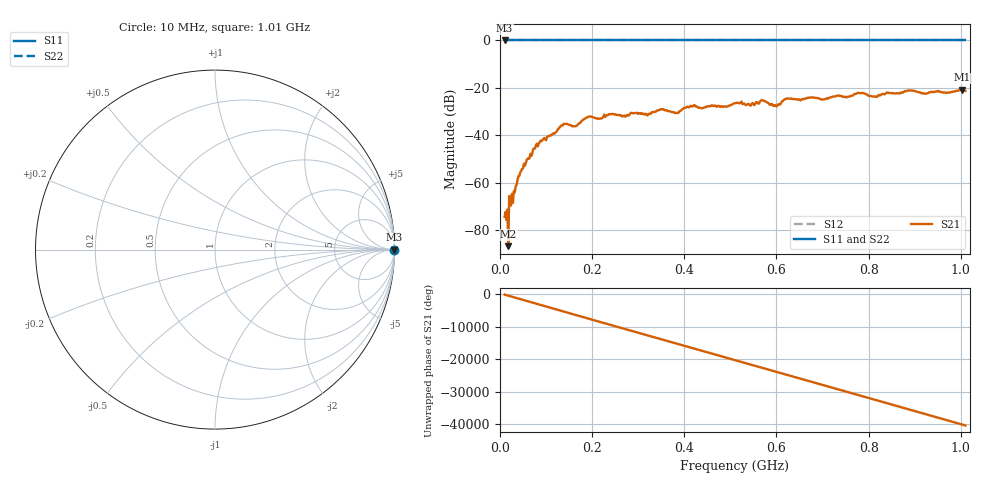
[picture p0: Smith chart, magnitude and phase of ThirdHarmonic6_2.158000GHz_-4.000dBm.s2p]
! 8/17/2025 1:45:31 AM
! C:\ANRITSUVNA\TEMP\TEMP.S2P
! CHANNEL.1
! TR.MEASUREMENT
! RAW.DATA
! RF.CORRECTION.OFF
! AVERAGING.OFF
! IF.BANDWIDTH: 5KHZ
! SWEEPTYPE:  FREQ.SWEEP(Linear)
! Reference Plane Port Info
! PORT:  PORT1  PORT2
! DISTANCE:  0  m  0  m
! TIME:  0  s  0  s
! PHASE.OFFSET:  0  deg.  0  deg.
! LOSS:  0  dB  0  dB
! REF.LOSS:  0  dB  0  dB
! REF.FREQ:  0  Hz  0  Hz
! Power Info
! POWER:  -20  dBm  -20  dBm
! EFF.POWER:  -20  dBm  -20  dBm
! SOURCE.ATTEN:  0  dB  0  dB
! TEST.ATTEN:  0  dB  0  dB
# GHZ S RI R 50.0
! FREQ.GHZ  S11RE  S11IM  S21RE  S21IM  S12RE  S12IM  S22RE  S22IM
!; PortSelection: Port_12
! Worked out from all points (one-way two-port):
!   501 points, 10 MHz to 1.01 GHz, reference 50 ohm
!   highest |S21| = -20.75 dB at 1.002 GHz (marker M1); lowest = -86.7 dB at 18 MHz (marker M2)
!   lowest |S11| = 0.0 dB at 10 MHz (marker M3)
!   |S11| at or under -10 dB: nowhere
!   |S22| runs from 0.0 to 0.0 dB; largest |S21 - S12| = 1.1
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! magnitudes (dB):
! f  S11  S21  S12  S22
! 10 MHz  0.0  -74.3  0.0  0.0
! 14 MHz  0.0  -75.6  0.0  0.0
! 18 MHz  0.0  -86.7  0.0  0.0
! 44 MHz  0.0  -55.6  0.0  0.0
! 76 MHz  0.0  -45.5  0.0  0.0
! 136 MHz  0.0  -35.8  0.0  0.0
! 162 MHz  0.0  -36.1  0.0  0.0
! 178 MHz  0.0  -33.8  0.0  0.0
! 194 MHz  0.0  -32.0  0.0  0.0
! 322 MHz  0.0  -31.0  0.0  0.0
! 344 MHz  0.0  -29.4  0.0  0.0
! 384 MHz  0.0  -30.5  0.0  0.0
! 418 MHz  0.0  -27.8  0.0  0.0
! 510 MHz  0.0  -26.4  0.0  0.0
! 570 MHz  0.0  -25.2  0.0  0.0
! 598 MHz  0.0  -27.4  0.0  0.0
! 622 MHz  0.0  -24.5  0.0  0.0
! 678 MHz  0.0  -24.0  0.0  0.0
! 814 MHz  0.0  -23.5  0.0  0.0
! 844 MHz  0.0  -22.1  0.0  0.0
! 1.002 GHz  0.0  -20.8  0.0  0.0
! 1.01 GHz  0.0  -21.3  0.0  0.0
